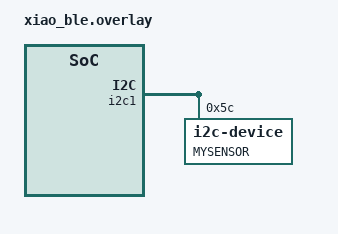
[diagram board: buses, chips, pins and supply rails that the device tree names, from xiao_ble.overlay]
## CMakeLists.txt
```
cmake_minimum_required(VERSION 3.20.0)
find_package(Zephyr REQUIRED HINTS $ENV{ZEPHYR_BASE})

project(lps22hb_pra_1)

target_sources(app PRIVATE src/main.c)
```

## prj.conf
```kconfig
#I2C
CONFIG_I2C=y

#FLOATING POINT
CONFIG_CBPRINTF_FP_SUPPORT=y

#LOG
CONFIG_LOG=y
CONFIG_LOG_MODE_MINIMAL=y
```

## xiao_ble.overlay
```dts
&i2c1 {
    mysensor: mysensor@5c {
        compatible ="i2c-device";
        reg = < 0x5c >;
        label = "MYSENSOR";
    };
};
```

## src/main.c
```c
#include <zephyr/kernel.h>
#include <zephyr/device.h>
#include <zephyr/devicetree.h>
#include <zephyr/drivers/i2c.h>
#include <zephyr/logging/log.h>

#define I2C1_NODE DT_NODELABEL(mysensor)
#define LPS22HB_REG_TEMP_OUT_L 0x2B
#define LPS22HB_REG_TEMP_OUT_H 0x2C
#define DELAY 1000

LOG_MODULE_REGISTER(PRAC_4, LOG_LEVEL_DBG);

static const struct i2c_dt_spec dev_i2c = I2C_DT_SPEC_GET(I2C1_NODE);
uint8_t temp_reading[2] = {0};
uint8_t sensor_regs[2] = {LPS22HB_REG_TEMP_OUT_L, LPS22HB_REG_TEMP_OUT_H};

int main(void)
{
        int ret;
        k_msleep(6000);
        if (!device_is_ready(dev_i2c.bus))
        {
                LOG_ERR("I2C bus %s is not ready!\n\r", dev_i2c.bus->name);
                return 0;
        }
        
        while (1)
        {
                ret = i2c_write_read_dt(&dev_i2c, &sensor_regs[0], 1, &temp_reading[0], 1);
                if (ret != 0)
                {
                        LOG_ERR("Failed to write/read I2C device address %x at Reg. %x \r\n", dev_i2c.addr, sensor_regs[0]);
                }
                ret = i2c_write_read_dt(&dev_i2c, &sensor_regs[1], 1, &temp_reading[1], 1);
                if (ret != 0)
                {
                        LOG_ERR("Failed to write/read I2C device address %x at Reg. %x \r\n", dev_i2c.addr, sensor_regs[1]);
                }

                int16_t raw_temperature = (temp_reading[1] << 8) | temp_reading[0];

                // Convert raw temperature data to temperature in degrees Celsius
                float temperature_celsius = (float)raw_temperature / 100.0f;

                // Print reading to console
                LOG_INF("Temperature in Celsius : %.2f C \n", temperature_celsius);
                k_msleep(DELAY);
        }
        return 0;
}
```
